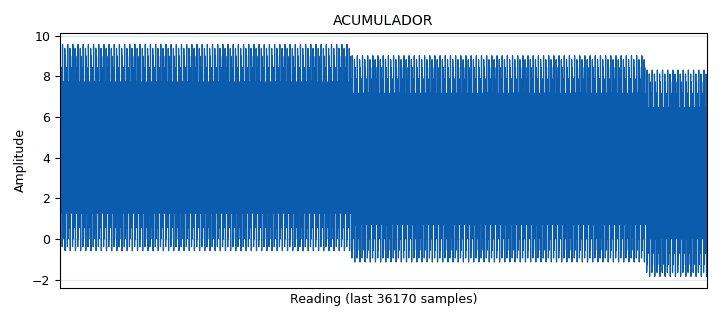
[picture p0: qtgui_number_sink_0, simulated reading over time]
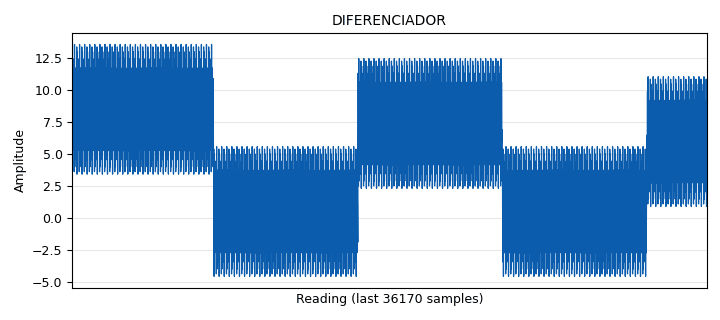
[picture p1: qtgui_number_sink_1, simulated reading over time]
options:
  parameters:
    author: RICARDO_JAIMES_KAREN_VALENCIA_DUVAN
    copyright: UIS
    description: 'IMPLEMENTACION BLOQUES ACUMULADOR Y DIFERENCIADOR '
    generate_options: qt_gui
    id: PRACTICA2_acum_diff
    output_language: python
    title: PRACTICA2_ACUM_DIFF
  states: {}

blocks:
- name: samp_rate
  id: variable
  parameters:
    value: '32000'
  states: {}
- name: analog_sig_source_x_0
  id: analog_sig_source_x
  parameters:
    amp: '1'
    freq: '1000'
    offset: '0'
    phase: '0'
    samp_rate: samp_rate
    type: float
    waveform: analog.GR_COS_WAVE
  states: {}
- name: epy_block_0
  id: epy_block
  parameters:
    _source_code: "\nimport numpy as np\nfrom gnuradio import gr\n\nclass blk (gr. sync_block ):\n\tdef __init__ ( self ) : # only default arguments here\n\t\tgr. sync_block . __init__ (\n\t\t\tself ,\n\t\t\tname ='Acumulador', # will show up in GRC\n\t\t\tin_sig =[ np. float32 ],\n\t\t\tout_sig =[ np. float32 ]\n\t\t)\n\tdef work (self , input_items , output_items ):\n\t\tx = input_items [0] # Senial de entrada .\n\t\ty0 = output_items [0] # Senial acumulada\n\t\ty0 [:] = np. cumsum (x)\n\t\treturn len (y0)"
  states: {}
- name: epy_block_1
  id: epy_block
  parameters:
    _source_code: "\nimport numpy as np\nfrom gnuradio import gr\n\nclass blk (gr.sync_block ):\n\tdef __init__ ( self ) : # only default arguments here\n\t\tgr.sync_block.__init__ (\n\t\t\tself ,\n\t\t\tname ='Diferenciador', # will show up in GRC\n\t\t\tin_sig =[ np.float32 ],\n\t\t\tout_sig =[ np.float32 ]\n\t\t)\n\t\tself.acum_anterior = 0\n\t\t\n\tdef work (self , input_items , output_items ):\n\t\tx = input_items [0] # Senial de entrada.\n\t\ty0 = output_items [0] # Senial acumulada diferencial\n\t\tN = len (x)\n\t\tdiff = np.cumsum (x) - self.acum_anterior\n\t\tself.acum_anterior = diff[N -1]\n\t\ty0 [:] = diff\n\t\treturn len (y0)\n        "
  states: {}
- name: qtgui_number_sink_0
  id: qtgui_number_sink
  parameters:
    autoscale: 'True'
    graph_type: qtgui.NUM_GRAPH_HORIZ
    name: '"ACUMULADOR"'
    type: float
  states: {}
- name: qtgui_number_sink_1
  id: qtgui_number_sink
  parameters:
    graph_type: qtgui.NUM_GRAPH_HORIZ
    name: '"DIFERENCIADOR"'
    type: float
  states: {}

connections:
- [analog_sig_source_x_0, '0', epy_block_0, '0']
- [analog_sig_source_x_0, '0', epy_block_1, '0']
- [epy_block_0, '0', qtgui_number_sink_0, '0']
- [epy_block_1, '0', qtgui_number_sink_1, '0']

metadata:
  file_format: 1
  grc_version: 3.10.9.2
